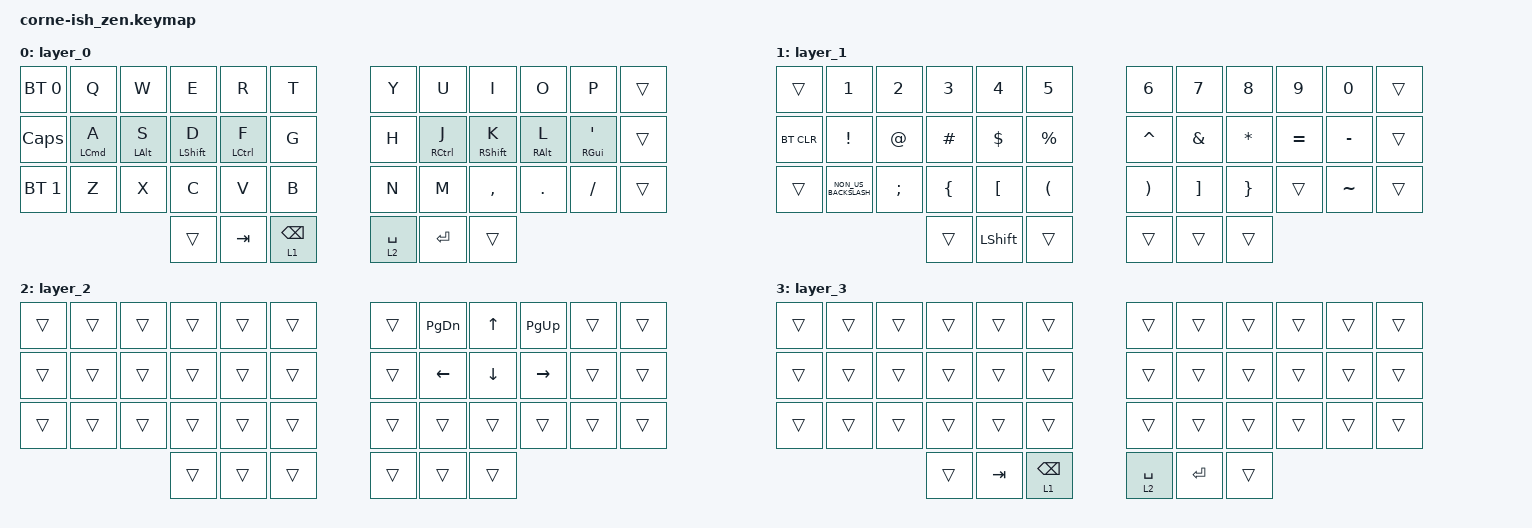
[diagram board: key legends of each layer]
#include <behaviors.dtsi>
#include <dt-bindings/zmk/bt.h>
#include <dt-bindings/zmk/keys.h>

/ {
    behaviors {
        new_behavior: new_behavior {
            compatible = "zmk,behavior-hold-tap";
            label = "NEW_BEHAVIOR";
            bindings = <&none>, <&none>;

            #binding-cells = <2>;
            tapping-term-ms = <200>;
            flavor = "tap-preferred";
            require-prior-idle-ms = <500>;
        };
    };

    keymap {
        compatible = "zmk,keymap";

        layer_0 {
            bindings = <
&bt BT_SEL 0  &kp Q       &kp W           &kp E        &kp R               &kp T              &kp Y        &kp U                &kp I              &kp O            &kp P              &trans
&kp CAPSLOCK  &mt LCMD A  &mt LEFT_ALT S  &mt LSHFT D  &mt LEFT_CONTROL F  &kp G              &kp H        &mt RIGHT_CONTROL J  &mt RIGHT_SHIFT K  &mt RIGHT_ALT L  &mt RIGHT_GUI SQT  &trans
&bt BT_SEL 1  &kp Z       &kp X           &kp C        &kp V               &kp B              &kp N        &kp M                &kp COMMA          &kp PERIOD       &kp SLASH          &trans
                                          &trans       &kp TAB             &lt 1 BACKSPACE    &lt 2 SPACE  &kp ENTER            &trans
            >;
        };

        layer_1 {
            bindings = <
&trans      &kp NUMBER_1          &kp NUMBER_2  &kp NUMBER_3  &kp NUMBER_4    &kp N5         &kp NUMBER_6  &kp N7         &kp N8        &kp N9     &kp N0     &trans
&bt BT_CLR  &kp EXCLAMATION       &kp AT_SIGN   &kp HASH      &kp DOLLAR      &kp PERCENT    &kp CARET     &kp AMPERSAND  &kp ASTERISK  &kp EQUAL  &kp MINUS  &trans
&trans      &kp NON_US_BACKSLASH  &kp SEMI      &kp LBRC      &kp LBKT        &kp LPAR       &kp RPAR      &kp RBKT       &kp RBRC      &trans     &kp TILDE  &trans
                                                &trans        &kp LEFT_SHIFT  &trans         &trans        &trans         &trans
            >;
        };

        layer_2 {
            bindings = <
&trans  &trans  &trans  &trans  &trans  &trans    &trans  &kp PAGE_DOWN  &kp UP    &kp PAGE_UP  &trans  &trans
&trans  &trans  &trans  &trans  &trans  &trans    &trans  &kp LEFT       &kp DOWN  &kp RIGHT    &trans  &trans
&trans  &trans  &trans  &trans  &trans  &trans    &trans  &trans         &trans    &trans       &trans  &trans
                        &trans  &trans  &trans    &trans  &trans         &trans
            >;
        };

        layer_3 {
            bindings = <
&trans  &trans  &trans  &trans  &trans   &trans             &trans       &trans     &trans  &trans  &trans  &trans
&trans  &trans  &trans  &trans  &trans   &trans             &trans       &trans     &trans  &trans  &trans  &trans
&trans  &trans  &trans  &trans  &trans   &trans             &trans       &trans     &trans  &trans  &trans  &trans
                        &trans  &kp TAB  &lt 1 BACKSPACE    &lt 2 SPACE  &kp ENTER  &trans
            >;
        };
    };
};
